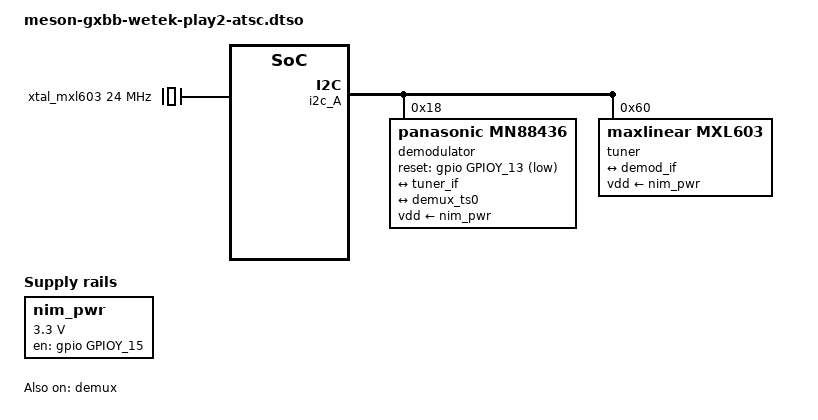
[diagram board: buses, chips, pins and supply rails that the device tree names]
// SPDX-License-Identifier: (GPL-2.0+ OR MIT)
/*
 * WeTek Play 2 ATSC card: Panasonic MN88436 demodulator with a MaxLinear
 * MxL603 tuner
 */

/dts-v1/;
/plugin/;

#include <dt-bindings/gpio/gpio.h>
#include <dt-bindings/gpio/meson-gxbb-gpio.h>

&{/} {
	xtal_mxl603: clock-24000000 {
		compatible = "fixed-clock";
		#clock-cells = <0>;
		clock-frequency = <24000000>;
	};

	/* power of the card, also needed for its reset line */
	nim_pwr: regulator-nim {
		compatible = "regulator-fixed";
		regulator-name = "NIM_PWR";
		regulator-min-microvolt = <3300000>;
		regulator-max-microvolt = <3300000>;
		gpio = <&gpio GPIOY_15 GPIO_ACTIVE_HIGH>;
		enable-active-high;
		regulator-always-on;
	};
};

/* TS0 (tsin_a), parallel */
&demux {
	pinctrl-0 = <&tsin_a_parallel_pins>;
	pinctrl-names = "default";
	status = "okay";

	ports {
		#address-cells = <1>;
		#size-cells = <0>;

		port@0 {
			reg = <0>;

			demux_ts0: endpoint {
				remote-endpoint = <&demod_ts>;
				bus-width = <8>;
			};
		};
	};
};

&i2c_A {
	#address-cells = <1>;
	#size-cells = <0>;

	demodulator@18 {
		compatible = "panasonic,mn88436";
		reg = <0x18>;
		reset-gpios = <&gpio GPIOY_13 GPIO_ACTIVE_LOW>;
		/* orders the probe after the card power */
		vdd-supply = <&nim_pwr>;

		ports {
			#address-cells = <1>;
			#size-cells = <0>;

			port@0 {
				reg = <0>;

				demod_if: endpoint {
					remote-endpoint = <&tuner_if>;
				};
			};

			port@1 {
				reg = <1>;

				demod_ts: endpoint {
					remote-endpoint = <&demux_ts0>;
					bus-width = <8>;
				};
			};
		};
	};

	tuner@60 {
		compatible = "maxlinear,mxl603";
		reg = <0x60>;
		clocks = <&xtal_mxl603>;
		vdd-supply = <&nim_pwr>;
		maxlinear,xtal-cap = <31>;
		maxlinear,external-agc;

		ports {
			#address-cells = <1>;
			#size-cells = <0>;

			port@1 {
				reg = <1>;

				tuner_if: endpoint {
					remote-endpoint = <&demod_if>;
				};
			};
		};
	};
};
